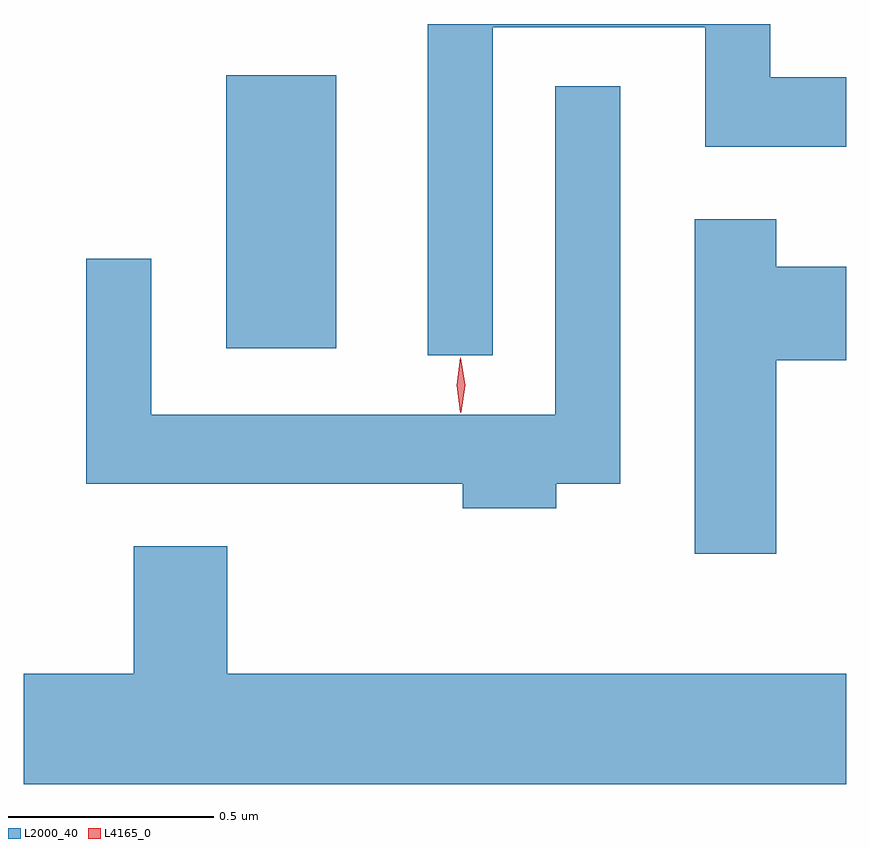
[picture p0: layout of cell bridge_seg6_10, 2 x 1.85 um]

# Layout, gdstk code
import gdstk
lib = gdstk.Library(unit=1e-6, precision=1e-09)
def R(c, l, rs):  # rectangles x0, y0, x1, y1
    for r in rs: c.add(gdstk.rectangle(r[:2], r[2:], *l))
def P(c, l, *ps):  # polygons
    for p in ps: c.add(gdstk.Polygon(p, *l))
L2000_40 = (2000, 40)
L4165_0 = (4165, 0)

bridge_seg6_10 = lib.new_cell('bridge_seg6_10')
R(bridge_seg6_10, L2000_40, [(1438.486,1650.996,1438.754,1651.659)])
P(bridge_seg6_10, L2000_40, [(1439.134,1651.776),(1439.651,1651.776),(1439.651,1651.486),(1439.994,1651.486),(1439.994,1651.654),(1439.809,1651.654),(1439.809,1651.784),(1438.976,1651.784),(1438.976,1650.978),(1439.134,1650.978)],
  [(1439.289,1650.666),(1439.444,1650.666),(1439.444,1651.633),(1439.286,1651.633),(1439.286,1650.834),(1438.304,1650.834),(1438.304,1651.213),(1438.146,1651.213),(1438.146,1650.666),(1439.061,1650.666),(1439.061,1650.606),(1439.289,1650.606)],
  [(1439.824,1650.966),(1439.994,1650.966),(1439.994,1651.194),(1439.824,1651.194),(1439.824,1651.309),(1439.626,1651.309),(1439.626,1650.496),(1439.824,1650.496)],
  [(1439.994,1650.204),(1438.489,1650.204),(1438.489,1650.514),(1438.261,1650.514),(1438.261,1650.204),(1437.994,1650.204),(1437.994,1649.936),(1439.994,1649.936)])
P(bridge_seg6_10, L4165_0, [(1439.057,1650.839),(1439.056,1650.84),(1439.047,1650.906),(1439.056,1650.972),(1439.056,1650.973),(1439.057,1650.972),(1439.067,1650.906),(1439.058,1650.84)])

lib.write_gds('bridge_seg6_10.gds')
